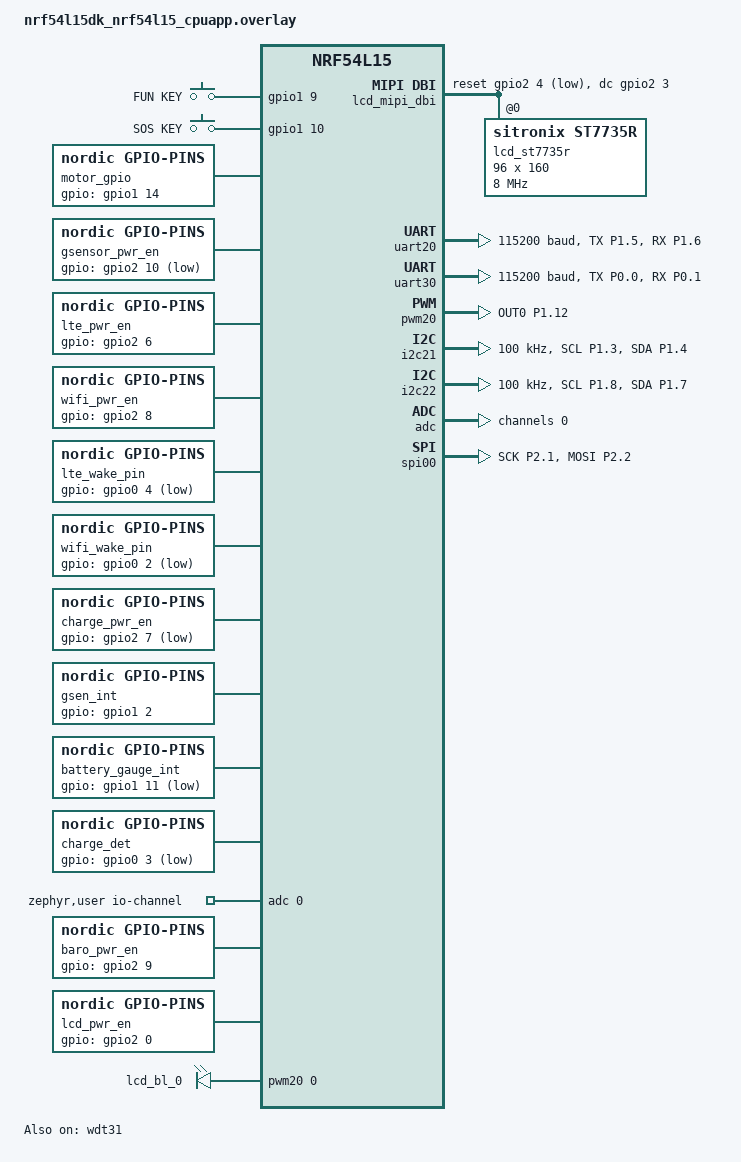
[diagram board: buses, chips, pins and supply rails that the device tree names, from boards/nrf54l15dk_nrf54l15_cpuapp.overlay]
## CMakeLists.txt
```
#
# Copyright (c) 2018 Nordic Semiconductor
#
# SPDX-License-Identifier: LicenseRef-Nordic-5-Clause
#
cmake_minimum_required(VERSION 3.20.0)

find_package(Zephyr REQUIRED HINTS $ENV{ZEPHYR_BASE})
project(LL311_BLE)

target_include_directories(app PRIVATE
 ./inc
 ./src
 ./ext_module/QMI8658B/api
 ./ext_module/QMI8658B/port
 ./ext_module/QMI8658B/driver
 ./ext_module/battery_gauge/api
 ./ext_module/battery_gauge/port
 ./ext_module/battery_gauge/vendor
 ./ext_module/barometer/api
 ./ext_module/barometer/drivers/SPA06/inc
#  ./ext_module/accelerometer/api
#  ./ext_module/accelerometer/drivers/DA213/inc
)

# NORDIC SDK APP START
target_sources(app PRIVATE
  src/main.c
  src/my_ring_buf.c
  src/my_shell.c
  src/my_ble_core.c
  src/my_lte.c
  src/my_uart.c
  src/my_wifi.c
  src/my_gprs.c
  src/my_gsensor.c
  src/my_lcd.c
  src/my_ctrl.c
  src/my_battery.c
  src/my_wdt.c
  src/my_tool.c
  src/my_cmd_setting.c
  src/my_zms_param.c
  src/my_ble_app.c
  src/my_ble_log.c
  src/my_dfu_jimi.c
  src/my_pm.c
  src/my_ble_scan.c
  ext_module/QMI8658B/api/imu_api.c
  ext_module/QMI8658B/port/qmi8658b_port.c
  ext_module/QMI8658B/driver/qmi8658b_driver.c
  ext_module/battery_gauge/api/battery_gauge_api.c
  ext_module/battery_gauge/port/om70201wv_port.c
  ext_module/battery_gauge/vendor/omg_battery.c
  ext_module/barometer/api/barometer_api.c
  ext_module/barometer/drivers/SPA06/src/spa06_driver.c
  # ext_module/accelerometer/api/accelerometer_api.c
  # ext_module/accelerometer/drivers/DA213/src/da213_driver.c
  src/my_flash_store.c
)

# NORDIC SDK APP END
```

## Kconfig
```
#
# Copyright (c) 2018 Nordic Semiconductor
#
# SPDX-License-Identifier: LicenseRef-Nordic-5-Clause
#

source "Kconfig.zephyr"

menu "Nordic UART BLE GATT service sample"

config USE_STDC_LSM6DSV16X
	bool "LSM6DSV16X STdC driver"
	default y
	select HAS_STMEMSC

config BT_NUS_THREAD_STACK_SIZE
	int "Thread stack size"
	default 1024
	help
	  Stack size used in each of the two threads

config BT_NUS_UART_BUFFER_SIZE
	int "UART payload buffer element size"
	default 40
	help
	  Size of the payload buffer in each RX and TX FIFO element

config BT_NUS_SECURITY_ENABLED
	bool "Security"
	default y
	select BT_SMP
	help
	  Enable Bluetooth LE security for the UART service

config BT_NUS_UART_RX_WAIT_TIME
	int "Timeout for UART RX complete event"
	default 50000
	help
	  Wait for RX complete event time in microseconds

config SETTINGS
	default y

config ZMS
	default y if (SOC_FLASH_NRF_RRAM || SOC_FLASH_NRF_MRAM)

config NVS
	default y if !(SOC_FLASH_NRF_RRAM || SOC_FLASH_NRF_MRAM)

endmenu
```

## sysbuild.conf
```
#
# Copyright (c) 2021 Nordic Semiconductor ASA
#
# SPDX-License-Identifier: LicenseRef-Nordic-5-Clause
#

# Enable MCUboot as bootloader (recommended way)
SB_CONFIG_BOOTLOADER_MCUBOOT=y
```

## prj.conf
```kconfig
#
# Copyright (c) 2018 Nordic Semiconductor
#
# SPDX-License-Identifier: LicenseRef-Nordic-5-Clause
#

# Enable the UART driver
CONFIG_UART_ASYNC_API=y
CONFIG_NRFX_UARTE=y
CONFIG_SERIAL=y

# Enable the GPIO driver
CONFIG_GPIO=y

# Enable I2C driver
CONFIG_I2C=y

# Enable PWM driver
CONFIG_PWM=y

# Enable SPI driver
CONFIG_SPI=y
CONFIG_SPI_NRFX=y

# Enable MIPI DBI
CONFIG_MIPI_DBI=y
CONFIG_MIPI_DBI_SPI=y

# Enable Display (ST7735R)
CONFIG_DISPLAY=y
CONFIG_ST7735R=y
CONFIG_SPI_NRFX_RAM_BUFFER_SIZE=256

# Make sure printk is printing to the RTT console
CONFIG_CONSOLE=y
CONFIG_UART_CONSOLE=n
CONFIG_RTT_CONSOLE=y

# Enable Shell
CONFIG_SHELL=y
CONFIG_SHELL_BACKEND_RTT=y
CONFIG_SHELL_BACKEND_SERIAL=n
CONFIG_SHELL_VT100_COMMANDS=y
CONFIG_SHELL_HISTORY=y

# Increase RTT buffer size to prevent message drops
CONFIG_SEGGER_RTT_BUFFER_SIZE_UP=4096
CONFIG_LOG_BUFFER_SIZE=4096

# Heap and stacks
CONFIG_HEAP_MEM_POOL_SIZE=16384
CONFIG_MAIN_STACK_SIZE=2048
CONFIG_SYSTEM_WORKQUEUE_STACK_SIZE=2048

# Bluetooth RX workqueue stack size (default 1200 is insufficient for BLE log, increased to 2048)
CONFIG_BT_RX_STACK_SIZE=2048

# Enable Bluetooth
CONFIG_BT=y
CONFIG_BT_PERIPHERAL=y
CONFIG_BT_DEVICE_NAME="LL311"
CONFIG_BT_DEVICE_APPEARANCE=512
CONFIG_BT_MAX_CONN=2
CONFIG_BT_MAX_PAIRED=1

# Enable Bluetooth Observer role for TAG scanning
CONFIG_BT_OBSERVER=y
CONFIG_BT_SCAN=y

# Enable extended advertising for multiple advertising sets
CONFIG_BT_EXT_ADV=y
CONFIG_BT_EXT_ADV_MAX_ADV_SET=3

CONFIG_BT_CTLR_TX_PWR_DYNAMIC_CONTROL=y

# Enable the Device Information Service
# CONFIG_BT_DIS=y
# CONFIG_BT_DIS_MANUF_NAME=y
# CONFIG_BT_DIS_MANUF_NAME_STR="Nordic Semiconductor ASA"
# CONFIG_BT_DIS_PNP=y
# CONFIG_BT_DIS_PNP_VID_SRC=2
# CONFIG_BT_DIS_PNP_VID=0x1915
# CONFIG_BT_DIS_PNP_PID=0xEEF1
# CONFIG_BT_DIS_PNP_VER=0x0100

# Disable NUS service
CONFIG_BT_NUS=n
# CONFIG_BT_NUS_THREAD_STACK_SIZE is no longer needed

# Enable bonding
CONFIG_BT_SETTINGS=y
CONFIG_FLASH=y
CONFIG_FLASH_PAGE_LAYOUT=y
CONFIG_FLASH_MAP=y
CONFIG_STREAM_FLASH=y
CONFIG_PARTITION_MANAGER_ENABLED=y

# Enable DK LED and Buttons library
CONFIG_DK_LIBRARY=n

# Disable SPI NOR Flash
CONFIG_SPI_NOR=n
CONFIG_NORDIC_QSPI_NOR=n

# Enable Power Management
CONFIG_PM=y
CONFIG_PM_DEVICE=y
CONFIG_PM_DEVICE_RUNTIME=y

# Disable unused RAM blocks to reduce standby current
CONFIG_RAM_POWER_DOWN_LIBRARY=y

# Config logger
CONFIG_LOG=y
CONFIG_LOG_DEFAULT_LEVEL=3
CONFIG_USE_SEGGER_RTT=y
CONFIG_LOG_BACKEND_RTT=n
CONFIG_LOG_BACKEND_UART=n
CONFIG_LOG_PRINTK=n
CONFIG_LOG_CUSTOM_FORMAT_SUPPORT=y
CONFIG_LOG_OUTPUT_FORMAT_CUSTOM_TIMESTAMP=y
CONFIG_LOG_BACKEND_FORMAT_TIMESTAMP=y

CONFIG_HWINFO=y


# Enable assertions
CONFIG_ASSERT=y

# Enable power management
CONFIG_PM=y
CONFIG_PM_DEVICE=y

# Enable Watchdog
CONFIG_WATCHDOG=y

# Enable reboot
CONFIG_REBOOT=y

# Enable ADC
CONFIG_ADC=y
CONFIG_ADC_NRFX_SAADC=y

# ST MEMSC HAL
CONFIG_USE_STDC_LSM6DSV16X=y

# Enable poweroff
CONFIG_POWEROFF=y

# nRF Security + PSA Crypto
CONFIG_NRF_SECURITY=y

# AES ECB
CONFIG_PSA_WANT_KEY_TYPE_AES=y
CONFIG_PSA_WANT_ALG_ECB_NO_PADDING=y

# Enable MCUManager and BT OTA DFU
CONFIG_NCS_SAMPLE_MCUMGR_BT_OTA_DFU=y

# Enable Bluetooth OTA DFU support, no authentication required
CONFIG_MCUMGR_TRANSPORT_BT_PERM_RW=y

# MCUmgr notification hooks for OTA status monitoring
CONFIG_MCUMGR_MGMT_NOTIFICATION_HOOKS=y
CONFIG_MCUMGR_SMP_COMMAND_STATUS_HOOKS=y
CONFIG_MCUMGR_GRP_IMG_UPLOAD_CHECK_HOOK=y

# Enable Bluetooth SMP (Security Manager Protocol)
CONFIG_BT_SMP=y

# Enable Secure Connections pairing (for Passkey Entry)
CONFIG_BT_SMP_SC_PAIR_ONLY=n

# Enable larger ACL buffers for DFU (MTU 498 + 4 bytes L2CAP header)
# Supports dual-PDU mode: max data length = 251 * 2 = 502
CONFIG_BT_L2CAP_TX_MTU=498
CONFIG_BT_BUF_ACL_RX_SIZE=502
CONFIG_BT_BUF_ACL_TX_SIZE=502
CONFIG_BT_CTLR_DATA_LENGTH_MAX=251

CONFIG_CBPRINTF_FP_SUPPORT=y
```

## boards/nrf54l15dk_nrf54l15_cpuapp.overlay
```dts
/*
 * Copyright (c) 2024 Nordic Semiconductor ASA
 *
 * SPDX-License-Identifier: LicenseRef-Nordic-5-Clause
 */

#include <zephyr/dt-bindings/gpio/gpio.h>
#include <zephyr/dt-bindings/i2c/i2c.h>
#include <zephyr/dt-bindings/pinctrl/nrf-pinctrl.h>
#include <zephyr/dt-bindings/mipi_dbi/mipi_dbi.h>

/ {
	chosen {
		/* LCD 显示屏（ST7735r驱动兼容ST7735P3,目前硬件使用ST7735P3） */
		zephyr,display = &lcd_st7735r;
	};

	/* 定义别名，方便代码调用 */
	aliases {
		/* 删除板级alias别名 */
		/delete-property/ led0;
		/delete-property/ led1;
		/delete-property/ led2;
		/delete-property/ led3;
		/delete-property/ pwm-led0;
		/delete-property/ sw0;
		/delete-property/ sw1;
		/delete-property/ sw2;
		/delete-property/ sw3;
		/delete-property/ mcuboot-button0;
		/delete-property/ mcuboot-led0;
		lte-uart = &uart30;
		lte-pwr-ctrl = &lte_pwr_en;
		lte-wake-ctrl = &lte_wake_pin;
		gsensor-i2c = &i2c21;
		battery-gauge-i2c = &i2c21;
		gsensor-pwr-ctrl = &gsensor_pwr_en;
		motor-ctrl = &motor_gpio;
		fun-key = &fun_key_pin;
		charge-pwr-ctrl = &charge_pwr_en;
		gsensor-int = &gsen_int;
		battery-gauge-int = &battery_gauge_int;
		charge-detect = &charge_det;
		wifi-uart = &uart20;
		wifi-pwr-ctrl = &wifi_pwr_en;
		wifi-wake-ctrl = &wifi_wake_pin;
		sos-key = &sos_key_pin;
		baro-pwr-ctrl = &baro_pwr_en;
		baro-i2c = &i2c22;
		lcd-backlight = &lcd_bl_0;
		lcd-pwr-ctrl = &lcd_pwr_en;
	};
	/* 删除板级节点 */
	/delete-node/ leds;
	/delete-node/ buttons;
	/delete-node/ pwmleds;

	/* 定义按键 - 使用 gpio-keys 兼容类型 */
	button_fun: button_fun {
		compatible = "gpio-keys";
		fun_key_pin: fun_key_pin {
			gpios = <&gpio1 9 (GPIO_PULL_DOWN | GPIO_ACTIVE_HIGH)>;
			label = "FUN KEY";
		};
	};

	/* SOS 按键：P1.10，下拉输入，高电平有效 */
	button_sos: button_sos {
		compatible = "gpio-keys";
		sos_key_pin: sos_key_pin {
			gpios = <&gpio1 10 (GPIO_PULL_DOWN | GPIO_ACTIVE_HIGH)>;
			label = "SOS KEY";
		};
	};

	/* 振动马达控制引脚：P1.14，高电平振动 */
	motor_gpio: motor-gpio {
		compatible = "nordic,gpio-pins";
		gpios = <&gpio1 14 GPIO_ACTIVE_HIGH>;
		status = "okay";
	};

	/* 六轴传感器电源控制引脚配置：P2.10，低电平有效 */
	gsensor_pwr_en: gsensor-pwr-en {
		compatible = "nordic,gpio-pins";
		gpios = <&gpio2 10 GPIO_ACTIVE_LOW>;
		status = "okay";
	};

	/* 4G 电源控制引脚配置：P2.06，高电平有效 */
	lte_pwr_en: lte-pwr-en {
		compatible = "nordic,gpio-pins";
		gpios = <&gpio2 6 GPIO_ACTIVE_HIGH>;
		status = "okay";
	};

	/* WIFI 电源控制引脚配置：P2.08，高电平有效 */
	wifi_pwr_en: wifi-pwr-en {
		compatible = "nordic,gpio-pins";
		gpios = <&gpio2 8 GPIO_ACTIVE_HIGH>;
		status = "okay";
	};

	/* LTE 唤醒引脚配置：P0.04，外部上拉，4G拉低唤醒Nordic */
	lte_wake_pin: lte-wake-pin {
		compatible = "nordic,gpio-pins";
		gpios = <&gpio0 4 GPIO_ACTIVE_LOW>;
		status = "okay";
	};

	/* WIFI 唤醒引脚配置：P0.02，外部上拉，WIFI拉低唤醒Nordic */
	wifi_wake_pin: wifi-wake-pin {
		compatible = "nordic,gpio-pins";
		gpios = <&gpio0 2 GPIO_ACTIVE_LOW>;
		status = "okay";
	};

	/* P2.7: 充电使能，低电平使能 */
	charge_pwr_en: charge-pwr-en {
		compatible = "nordic,gpio-pins";
		gpios = <&gpio2 7 GPIO_ACTIVE_LOW>;
		status = "okay";
	};

	/* gsensor中断，默认下拉 */
	gsen_int: gsen-int {
		compatible = "nordic,gpio-pins";
		gpios = <&gpio1 2 (GPIO_PULL_DOWN | GPIO_ACTIVE_HIGH)>;
		status = "okay";
	};

	/* OM70201WV INTN：P1.11，默认上拉输入，低电平有效 */
	battery_gauge_int: battery-gauge-int {
		compatible = "nordic,gpio-pins";
		gpios = <&gpio1 11 (GPIO_PULL_UP | GPIO_ACTIVE_LOW)>;
		status = "okay";
	};

	/* P0.3: 是否在充电的检测,外部上拉 */
	charge_det: charge-det {
		compatible = "nordic,gpio-pins";
		gpios = <&gpio0 3 (GPIO_ACTIVE_LOW)>;
		status = "okay";
	};

	/* 把要用的 ADC 通道挂到 zephyr,user，方便 C 代码用 ADC_DT_SPEC_GET(DT_PATH(zephyr_user)) */
	zephyr,user {
		/* 通道 0：电池电压（P1.13 / AIN6）*/
		io-channels = <&adc 0>;
	};

	/* 气压计电源控制引脚：P2.09，高电平使能 */
	baro_pwr_en: baro-pwr-en {
		compatible = "nordic,gpio-pins";
		gpios = <&gpio2 9 GPIO_ACTIVE_HIGH>;
		status = "okay";
	};

	/* LCD 电源使能引脚：P2.00，高电平使能 */
	lcd_pwr_en: lcd-pwr-en {
		compatible = "nordic,gpio-pins";
		gpios = <&gpio2 0 GPIO_ACTIVE_HIGH>;
		status = "okay";
	};

	/* LCD 背光 PWM 节点：pwm20 通道0，P1.12 */
	lcd_bl_pwm: lcd-bl-pwm {
		compatible = "pwm-leds";
		lcd_bl_0: lcd_bl_0 {
			/* 背光频率1kHz，可调占空比控制亮度 */
			pwms = <&pwm20 0 PWM_HZ(1000) PWM_POLARITY_NORMAL>;
		};
	};

	/* LCD 显示屏（ST7735）MIPI-DBI 节点 */
	lcd_mipi_dbi {
		compatible = "zephyr,mipi-dbi-spi";
		spi-dev = <&spi00>;
		dc-gpios = <&gpio2 3 GPIO_ACTIVE_HIGH>;    /* P2.03 RS */
		reset-gpios = <&gpio2 4 GPIO_ACTIVE_LOW>;  /* P2.04 RESET */
		write-only;                                /* 无 MISO，禁止读操作 */
		#address-cells = <1>;
		#size-cells = <0>;

		lcd_st7735r: st7735r@0 {
			compatible = "sitronix,st7735r";
			/* SPI 频率需能被 nRF54L15 SPIM 基频整除且分频为偶数，8MHz 为安全值 */
			mipi-max-frequency = <8000000>;
			mipi-mode = "MIPI_DBI_MODE_SPI_4WIRE";
			reg = <0>;
			width = <96>;
			height = <160>;
			x-offset = <18>;      /* GRM X 起始 0x12 */
			y-offset = <1>;       /* GRM Y 起始 0x01 */
			madctl = <0xC8>;      /* MY=1 MX=1 RGB=1(BGR) */
			colmod = <0x05>;      /* 16bit RGB565 */
			caset = [00 12 00 71];   /* 列 0x12~0x71 (96列) */
			raset = [00 01 00 a0];   /* 行 0x01~0xA0 (160行) */
			vmctr1 = <0x05>;      /* VCOM */
			pwctr1 = [88 08 84];  /* 电源控制1 */
			pwctr2 = [c4];        /* 电源控制2 */
			pwctr3 = [0d 00];     /* 电源控制3 */
			pwctr4 = [8d 2a];     /* 电源控制4 */
			pwctr5 = [8d ee];     /* 电源控制5 */
			frmctr1 = [05 3c 3c]; /* 帧率控制1 */
			frmctr2 = [05 3c 3c]; /* 帧率控制2 */
			frmctr3 = [05 3c 3c 05 3c 3c]; /* 帧率控制3 */
			invctr = <0x03>;      /* Dot inversion */
			gamctrp1 = [13 1e 0f 14 28 21 1a 1e 1e 20 2a 38 00 0c 01 10];  /* 正伽马 */
			gamctrn1 = [16 1c 0e 17 30 2b 26 2b 2b 27 2f 3c 00 0e 04 10];  /* 负伽马 */
		};
	};

};

/* 配置 NFC 使用的引脚做为IO口 */
&uicr {
	nfct-pins-as-gpios;
};

&uart20 {
	status = "disabled";
};

/* 各外设 pinctrl 引脚配置 */
&pinctrl {
	i2c21_default: i2c21_default {
		group1 {
			psels = <NRF_PSEL(TWIM_SCL, 1, 3)>,
				<NRF_PSEL(TWIM_SDA, 1, 4)>;
		};
	};

	i2c21_sleep: i2c21_sleep {
		group1 {
			psels = <NRF_PSEL(TWIM_SCL, 1, 3)>,
				<NRF_PSEL(TWIM_SDA, 1, 4)>;
			low-power-enable;
		};
	};

	i2c22_default: i2c22_default {
		group1 {
			psels = <NRF_PSEL(TWIM_SCL, 1, 8)>,
				<NRF_PSEL(TWIM_SDA, 1, 7)>;
		};
	};

	i2c22_sleep: i2c22_sleep {
		group1 {
			psels = <NRF_PSEL(TWIM_SCL, 1, 8)>,
				<NRF_PSEL(TWIM_SDA, 1, 7)>;
			low-power-enable;
		};
	};

	lte_uart30_default: lte_uart30_default {
		group1 {
			/* TX 为输出，无需偏置 */
			psels = <NRF_PSEL(UART_TX, 0, 0)>;
		};
		group2 {
			/* RX 为输入，default 状态配置上拉 */
			psels = <NRF_PSEL(UART_RX, 0, 1)>;
			bias-pull-up;
		};
	};

	lte_uart30_sleep: lte_uart30_sleep {
		group1 {
			/* sleep 状态配置低功耗模式(高阻态) */
			psels = <NRF_PSEL(UART_TX, 0, 0)>,
					<NRF_PSEL(UART_RX, 0, 1)>;
			low-power-enable;
		};
	};

	uart20_default: uart20_default {
		group1 {
			psels = <NRF_PSEL(UART_TX, 1, 5)>;
		};
		group2 {
			psels = <NRF_PSEL(UART_RX, 1, 6)>;
			bias-pull-up;
		};
	};

	uart20_sleep: uart20_sleep {
		group1 {
			psels = <NRF_PSEL(UART_TX, 1, 5)>,
				<NRF_PSEL(UART_RX, 1, 6)>;
			low-power-enable;
		};
	};

	pwm20_default: pwm20_default {
		group1 {
			psels = <NRF_PSEL(PWM_OUT0, 1, 12)>;
			nordic,drive-mode = <NRF_DRIVE_H0H1>;
		};
	};

	pwm20_sleep: pwm20_sleep {
		group1 {
			psels = <NRF_PSEL(PWM_OUT0, 1, 12)>;
			low-power-enable;
		};
	};

	spi00_default: spi00_default {
		group1 {
			psels = <NRF_PSEL(SPIM_SCK, 2, 1)>,
					<NRF_PSEL(SPIM_MOSI, 2, 2)>;
			nordic,drive-mode = <NRF_DRIVE_H0H1>;
			bias-disable;
		};
	};

	spi00_sleep: spi00_sleep {
		group1 {
			psels = <NRF_PSEL(SPIM_SCK, 2, 1)>,
					<NRF_PSEL(SPIM_MOSI, 2, 2)>;
			low-power-enable;
		};
	};
};

/* 开启并配置 UART30 */
&uart30 {
	status = "okay";
	current-speed = <115200>;
	pinctrl-0 = <&lte_uart30_default>;
	pinctrl-1 = <&lte_uart30_sleep>;
	pinctrl-names = "default", "sleep";
};

&uart20 {
    status = "okay";
    current-speed = <115200>;
    pinctrl-0 = <&uart20_default>;
    pinctrl-1 = <&uart20_sleep>;
    pinctrl-names = "default", "sleep";
};

/* 开启并配置 PWM20 用于 LCD 背光 */
&pwm20 {
	status = "okay";
	pinctrl-0 = <&pwm20_default>;
	pinctrl-1 = <&pwm20_sleep>;
	pinctrl-names = "default", "sleep";
};

/* 开启并配置 I2C21 用于 G-Sensor */
&i2c21 {
	status = "okay";
	pinctrl-0 = <&i2c21_default>;
	pinctrl-1 = <&i2c21_sleep>;
	pinctrl-names = "default", "sleep";
	clock-frequency = <I2C_BITRATE_STANDARD>;
};

/* 气压计 I2C 总线：P1.08(SCL), P1.07(SDA) */
&i2c22 {
	status = "okay";
	pinctrl-0 = <&i2c22_default>;
	pinctrl-1 = <&i2c22_sleep>;
	pinctrl-names = "default", "sleep";
	clock-frequency = <I2C_BITRATE_STANDARD>;
};

/* ADC 配置：通道 0 = AIN6(P1.13) */
&adc {
	#address-cells = <1>;
	#size-cells = <0>;
	status = "okay";

	/* 通道 0：电池电压采集，AIN6 = P1.13 */
	channel@0 {
		reg = <0>;
		zephyr,gain = "ADC_GAIN_1_4";          /* nRF54L15 推荐 1/4 增益 */
		zephyr,reference = "ADC_REF_INTERNAL"; /* 内部参考 */
		zephyr,acquisition-time = <ADC_ACQ_TIME_DEFAULT>;
		zephyr,input-positive = <NRF_SAADC_AIN6>;  /* AIN6 = P1.13 */
		zephyr,resolution = <14>;                  /* nRF54L15 为 14 bit */
	};
};

/* LCD 显示屏使用 SPIM00：SCK=P2.01，MOSI=P2.02，CS=P2.05（无 MISO） */
&spi00 {
	compatible = "nordic,nrf-spim";
	status = "okay";
	pinctrl-0 = <&spi00_default>;
	pinctrl-1 = <&spi00_sleep>;
	pinctrl-names = "default", "sleep";
	cs-gpios = <&gpio2 5 GPIO_ACTIVE_LOW>;  /* P2.05 CS */
};

/* Disable MX25R64 SPI NOR Flash */
&mx25r64 {
    status = "disabled";
};

/* P0.4用于唤醒 */
&gpio0 {
	// wakeup-source;
	sense-edge-mask = <(BIT(2) | BIT(3) | BIT(4))>;  /* P0.2、P0.3 和 P0.4 */
};

/* 新增：为 gpio1 启用 sense 机制，降低功耗 */
&gpio1 {
	status = "okay";
	sense-edge-mask = <(BIT(2) | BIT(9) | BIT(10) | BIT(11))>;  /* P1.2六轴INT、P1.9功能键、P1.10 SOS键、P1.11库仑计INT */
};

&wdt31 {
	status = "okay";
};
```

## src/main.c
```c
/* 必须在包含 my_comm.h 之前定义 BLE_LOG_MODULE_ID，避免与 my_ble_log.h 中的默认定义冲突 */
#define BLE_LOG_MODULE_ID BLE_LOG_MOD_MAIN

#include "my_comm.h"

#define LOG_MODULE_NAME my_main
LOG_MODULE_REGISTER(LOG_MODULE_NAME);

/* 线程 ID 声明 */
static k_tid_t s_my_main_task_id = NULL;
static k_tid_t s_my_ble_task_id = NULL;
static k_tid_t s_my_ctrl_task_id = NULL;
static k_tid_t s_my_lte_task_id = NULL;
static k_tid_t s_my_wifi_task_id = NULL;
static k_tid_t s_my_gprs_task_id = NULL;
static k_tid_t s_my_gsensor_task_id = NULL;

static k_tid_t s_my_task_info[MAX_MY_MOD_TYPE] = {NULL};

/* 消息队列声明 */
K_MSGQ_DEFINE(my_main_msgq, sizeof(msg_t), 10, 4);
static struct k_msgq *s_my_msg_info[MAX_MY_MOD_TYPE] = {NULL};

/* 定时器声明 */
static struct k_timer s_my_timer_info[MY_TIMER_MAX_ID];
static bool s_my_timer_init_status[MY_TIMER_MAX_ID] = {false};

bool g_shutdown_request = false; // 关机请求标志位

/********************************************************************
**函数名称:  error
**入口参数:  无
**出口参数:  无
**函数功能:  进入系统错误状态，点亮所有 LED 并阻塞在死循环中
**返 回 值:  无
*********************************************************************/
void error(void)
{
    /* 所有 LED 亮，表示系统错误状态 */
    // TODO

    while (true)
    {
        /* Spin for ever */
        k_sleep(K_MSEC(1000));
    }
}

/*********************************************************************
**函数名称:  my_system_reset
**入口参数:  无
**出口参数:  无
**函数功能:  系统复位函数
*********************************************************************/
void my_system_reset(void)
{
    MY_LOG_ERR("System reset");
    JM_SLEEP(K_SECONDS(1));
    sys_reboot(SYS_REBOOT_WARM);
}

/*********************************************************************
**函数名称:  custom_task_info_init
**入口参数:  无
**出口参数:  无
**函数功能:  初始化任务数据信息结构
*********************************************************************/
void custom_task_info_init(void)
{
    s_my_task_info[MOD_MAIN] = s_my_main_task_id;
    s_my_task_info[MOD_BLE] = s_my_ble_task_id;
    s_my_task_info[MOD_CTRL] = s_my_ctrl_task_id;
    s_my_task_info[MOD_LTE] = s_my_lte_task_id;
    s_my_task_info[MOD_WIFI] = s_my_wifi_task_id;
    s_my_task_info[MOD_GPRS] = s_my_gprs_task_id;
    s_my_task_info[MOD_GSENSOR] = s_my_gsensor_task_id;
}

/*********************************************************************
**函数名称:  my_init_msg_handler
**入口参数:  mod - 任务类型，msgq - 消息队列
**出口参数:  无
**函数功能:  初始化任务数据信息结构
*********************************************************************/
void my_init_msg_handler(module_type mod, struct k_msgq *msgq)
{
    if (msgq == NULL)
    {
        MY_LOG_ERR("Invalid message queue (mod: %d)", mod);
        return;
    }

    /* 保存消息队列指针 */
    s_my_msg_info[mod] = msgq;
}

/*********************************************************************
**函数名称:  my_send_msg
**入口参数:  src_mod_id   --  发送消息的源模块ID
**           dest_mod_id  --  接收消息的目标模块ID
**           msg          --  消息ID
**出口参数:  无
**函数功能:  向指定模块发送简单消息 (不带附加数据)
*********************************************************************/
void my_send_msg(module_type src_mod_id, module_type dest_mod_id, uint32_t msg)
{
    msg_t sendMsg = {.msgID = msg, .pData = NULL, .DataLen = 0};
    struct k_msgq *destHdl = s_my_msg_info[dest_mod_id];

    if (destHdl == NULL)
    {
#if 0 // NOTE: 在定时器回调中调用打印接口设备会死机
        MY_LOG_ERR("dest thread is not ready! dest_mod_id=%d msgid=%d", dest_mod_id, msg);
#endif
        return;
    }

    /* 将消息放入目标队列 */
    k_msgq_put(destHdl, (void *)(&sendMsg), K_NO_WAIT);
}

/*********************************************************************
**函数名称:  my_send_msg_data
**入口参数:  src_mod_id   --  发送消息的源模块ID
**           dest_mod_id  --  接收消息的目标模块ID
**           msg          --  消息结构体指针 (msg_t)
**出口参数:  无
**函数功能:  向指定模块发送包含数据的完整消息结构
*********************************************************************/
void my_send_msg_data(module_type src_mod_id, module_type dest_mod_id, msg_t *msg)
{
    struct k_msgq *destHdl = s_my_msg_info[dest_mod_id];

    if (destHdl == NULL)
    {
#if 0 // NOTE: 在定时器回调中调用打印接口设备会死机
        MY_LOG_ERR("dest thread is not ready!");
#endif
        return;
    }

    /* 将消息放入目标队列 */
    k_msgq_put(destHdl, (void *)msg, K_NO_WAIT);
}

/*********************************************************************
**函数名称:  my_recv_msg
**入口参数:  msg_queue    --  消息队列句柄
**           msg          --  存储接收数据的缓冲区指针
**           msg_size     --  消息大小 (由队列定义决定，此处仅作预留)
**           wait_option  --  等待选项 (K_NO_WAIT, K_FOREVER等)
**出口参数:  msg          --  接收到的消息内容
**函数功能:  从指定消息队列接收消息
**返 回 值:  0 表示成功，负值表示失败
*********************************************************************/
int my_recv_msg(void *msg_queue, void *msg, uint32_t msg_size, k_timeout_t wait_option)
{
    return (int)k_msgq_get(msg_queue, msg, wait_option);
}

/*********************************************************************
**函数名称:  my_timer_expiry_function
**入口参数:  timer    --  Zephyr 定时器结构体指针
**出口参数:  无
**函数功能:  Zephyr 定时器超时回调包装函数
*********************************************************************/
static void my_timer_expiry_function(struct k_timer *timer)
{
    TIMER_FUN fun = (TIMER_FUN)k_timer_user_data_get(timer);
    if (fun)
    {
        fun(timer);
    }
}
/*********************************************************************
**函数名称:  my_stop_timer
**入口参数:  timerId    --  定时器ID
**出口参数:  无
**函数功能:  停止指定定时器
*********************************************************************/
void my_stop_timer(int timerId)
{
    if (timerId < 0 || timerId >= MY_TIMER_MAX_ID)
    {
        return;
    }

    if (s_my_timer_init_status[timerId])
    {
        k_timer_stop(&s_my_timer_info[timerId]);
    }
}

/*********************************************************************
**函数名称:  my_start_timer
**入口参数:  timerId    --  定时器ID
**           ms         --  定时器超时时间 (单位: 毫秒)
**           isPeriod   --  是否重复定时
**           timer_fun  --  定时器超时回调函数
**出口参数:  无
**函数功能:  启动指定定时器
*********************************************************************/
int my_start_timer(int timerId, uint32_t ms, bool isPeriod, TIMER_FUN timer_fun)
{
    if (timerId < 0 || timerId >= MY_TIMER_MAX_ID)
    {
        return -EINVAL;
    }

    /* 如果定时器未初始化，则先执行初始化并标记状态 */
    if (!s_my_timer_init_status[timerId])
    {
        k_timer_init(&s_my_timer_info[timerId], my_timer_expiry_function, NULL);
        s_my_timer_init_status[timerId] = true;
    }

    /* 停止旧的定时器 (现在已确保初始化，可以安全调用) */
    k_timer_stop(&s_my_timer_info[timerId]);

    /* 把用户回调函数指针存到 user_data */
    k_timer_user_data_set(&s_my_timer_info[timerId],
                          (void *)timer_fun);

    /* 启动定时器 */
    k_timer_start(&s_my_timer_info[timerId],
                  K_MSEC(ms),
                  isPeriod ? K_MSEC(ms) : K_NO_WAIT);

    return 0;
}

/*********************************************************************
**函数名称:  my_time_is_run
**入口参数:  timerId    --  定时器ID
**出口参数:  无
**函数功能:  检查指定定时器是否正在运行
**返 回 值:  剩余时间（单位：毫秒）
*********************************************************************/
uint32_t my_time_is_run(int timerId)
{
    if (timerId < 0 || timerId >= MY_TIMER_MAX_ID)
    {
        return false;
    }

    if (!s_my_timer_init_status[timerId])
    {
        return false;
    }

    /* 如果剩余时间大于 0，说明定时器正在运行 */
    return k_timer_remaining_get(&s_my_timer_info[timerId]);
}

/********************************************************************
**函数名称:  print_app_info
**入口参数:  无
**出口参数:  无
**函数功能:  打印应用信息
**返 回 值:  无
**功能描述:  1. 打印软件版本信息
**           2. 打印蓝牙 MAC 地址
**           3. 打印 SN 信息
*********************************************************************/
static void print_app_info(void)
{
    const macaddr_t *mac_addr = my_param_get_macaddr();
    const gsm_sn_t *sn = my_param_get_sn();

    MY_LOG_INF("============================================");
    MY_LOG_INF("App Info:");
    MY_LOG_INF("  Version    : %s", SOFTWARE_VERSION);
    MY_LOG_INF("  BLE MAC    : %02X:%02X:%02X:%02X:%02X:%02X",
            mac_addr->hex[0], mac_addr->hex[1], mac_addr->hex[2],
            mac_addr->hex[3], mac_addr->hex[4], mac_addr->hex[5]);
    MY_LOG_INF("  SN         : %c%c%c%c%c%c%c%c%c%c%c%c",
            sn->hex[0], sn->hex[1], sn->hex[2], sn->hex[3],
            sn->hex[4], sn->hex[5], sn->hex[6], sn->hex[7],
            sn->hex[8], sn->hex[9], sn->hex[10], sn->hex[11]);
    MY_LOG_INF("============================================");
}

/********************************************************************
**函数名称:  print_reset_reason
**入口参数:  无
**出口参数:  无
**函数功能:  打印系统复位原因
**返 回 值:  无
*********************************************************************/
void print_reset_reason(void)
{
    uint32_t supported = 0U;
    uint32_t cause = 0U;
    int err;

    err = hwinfo_get_supported_reset_cause(&supported);
    if (err == 0)
    {
        LOG_INF("Reset causes supported: 0x%08X", supported);
    }

    err = hwinfo_get_reset_cause(&cause);
    if (err == 0)
    {
        LOG_INF("Reset cause bitmask: 0x%08X", cause);

        if (cause == 0)
        {
            LOG_INF("Power-on reset");
        }
        if (cause & RESET_PIN)
        {
            LOG_INF("PIN reset");
        }
        if (cause & RESET_WATCHDOG)
        {
            LOG_INF("Watchdog reset");
        }
        if (cause & RESET_SOFTWARE)
        {
            LOG_INF("Software reset");
        }
        if (cause & RESET_CPU_LOCKUP)
        {
            LOG_INF("CPU lockup reset");
        }
        if (cause & RESET_BROWNOUT)
        {
            LOG_INF("Brownout reset");
        }
        if (cause & RESET_DEBUG)
        {
            LOG_INF("Debug interface reset");
        }
        if (cause & RESET_SECURITY)
        {
            LOG_INF("Security violation reset");
        }
        if (cause & RESET_LOW_POWER_WAKE)
        {
            LOG_INF("Wakeup from low power mode");
        }
        if (cause & RESET_CLOCK)
        {
            LOG_INF("Clock error / GRTC wakeup");
        }

        /* 清除复位原因，以便下次重启能获取最新原因 */
        err = hwinfo_clear_reset_cause();
        if (err)
        {
            LOG_INF("Reset cause clear failed (err %d)", err);
        }
    }
    else
    {
        LOG_INF("hwinfo_get_reset_cause failed (err %d)", err);
    }
}

/********************************************************************
**函数名称:  go_to_shutdown
**入口参数:  无
**出口参数:  无
**函数功能:  关机系统
**返 回 值:  0 表示成功，-1 表示充电中，无法关机
*********************************************************************/
int go_to_shutdown(void)
{
    if (get_charge_state_level() == 0)
    {
        if (g_bLteReady == 1)
        {
            // 通知4G模块关机
            g_shutdown_request = true;

            #if RETRANSMIT_CHECK_ENABLED
                lte_send_cmd_with_retry("PWROFF", "1");
            #else
                lte_send_command("PWROFF", "1");
            #endif
        }
        else
        {
            my_send_msg(MOD_MAIN, MOD_MAIN, MY_MSG_CTRL_SHUTDOWN_REQUEST);
        }
        return 0;
    }
    return -1;
}

/********************************************************************
**函数名称:  main
**入口参数:  无
**出口参数:  无
**函数功能:  作为系统入口，依次完成 GPIO、UART、BLE 模块初始化并运行主指示灯循环
**返 回 值:  0 表示程序正常运行（理论上不返回）
*********************************************************************/
int main(void)
{
    int err = 0;
    msg_t msg;

    // 设置自定义日志时间戳格式化函数
    log_custom_timestamp_set(custom_timestamp_formatter);
    print_reset_reason();

    /* 提前初始化 LCD：上电后尽早清屏显示，避免等 BLE/LTE 等初始化完
     * 才点亮屏幕造成的长时间白屏 */
    err = my_lcd_init();
    if (err)
    {
        MY_LOG_ERR("Failed to initialize LCD (err %d)", err);
    }

    my_param_load_config();

    psa_crypto_init();  // PSA库初始化

    /* 打印应用信息 */
    print_app_info();

    /* 获取当前线程 ID 并保存 */
    s_my_main_task_id = k_current_get();

    /* 初始化电源管理子系统（必须在其他模块之前） */
    my_pm_init();

    /* 初始化系统控制模块 (LED, Motor, Key) */
    err = my_ctrl_init(&s_my_ctrl_task_id);
    if (err)
    {
        MY_LOG_ERR("Failed to initialize Control module (err %d)", err);
    }

    /* 初始化 Shell 模块 */
    err = my_shell_init();
    if (err)
    {
        MY_LOG_ERR("Failed to initialize Shell module (err %d)", err);
    }

    /* 初始化 BLE 核心模块 */
    struct my_ble_core_init_param ble_param = {
        .reserved = 0,
    };

    err = my_ble_core_init(&ble_param, &s_my_ble_task_id);
    if (err)
    {
        error();
    }

    /* 启动 BLE 协议栈、NUS 服务、广播以及 BLE 写线程 */
    err = my_ble_core_start();
    if (err)
    {
        error();
    }

    /* 初始化 LTE 模块 */
    err = my_lte_init(&s_my_lte_task_id);
    if (err)
    {
        MY_LOG_ERR("Failed to initialize LTE module (err %d)", err);
        /* LTE 初始化失败可以选择不进入 error() 阻塞，视具体需求而定 */
    }

    /* 初始化WiFi模块 */
    err = my_wifi_init(&s_my_wifi_task_id);
    if (err)
    {
        MY_LOG_ERR("Failed to initialize WiFi module (err %d)", err);
    }

    /* 初始化 G-Sensor 模块 */
    err = my_gsensor_init(&s_my_gsensor_task_id);
    if (err)
    {
        MY_LOG_ERR("Failed to initialize G-Sensor (err %d)", err);
    }

    err = my_gprs_init(&s_my_gprs_task_id);
    if (err)
    {
        MY_LOG_ERR("Failed to initialize GPRS module (err %d)", err);
    }

    /* 初始化自定义任务信息 */
    custom_task_info_init();

    /* 初始化主线程消息队列 */
    my_init_msg_handler(MOD_MAIN, &my_main_msgq);

    /* 在所有核心模块、线程及主消息队列完成初始化后再启动看门狗，
     * 避免上电初始化阶段因模块启动耗时较长而被误判复位。
     * 此时系统已具备正常运行条件，后续工作模式切换及业务消息处理
     * 均受看门狗保护，初始化时机更稳妥。
     */
    err = my_wdt_init();
    if (err)
    {
        MY_LOG_ERR("Failed to initialize watchdog module (err %d)", err);
    }

    /* 主循环：等待并处理消息，逻辑已迁移至各线程 */
    for (;;)
    {
        memset(&msg, 0, sizeof(msg_t));

        my_recv_msg(&my_main_msgq, (void *)&msg, sizeof(msg_t), K_FOREVER);

        switch (msg.msgID)
        {
            case MY_MSG_BLE_DATA_EVENT:
                if (msg.pData && msg.DataLen > 0)
                {
                    MY_LOG_INF("BLE Rx (len %d): %s", msg.DataLen, (char *)msg.pData);
                    LOG_HEXDUMP_INF(msg.pData, msg.DataLen, "BLE RAW");
                    MY_FREE_BUFFER(msg.pData);
                }
                break;

            case MY_MSG_CTRL_KEY_SHORT_PRESS:
                MY_LOG_INF("KEY EVENT: Short press detected");
                /* 短按唤醒后，显示电池状态，LED显示,蓝牙广播*/
                open_led_timer(5000);
                my_bluetooth_key_process();
                break;

            case MY_MSG_CTRL_KEY_LONG_PRESS:
                if (gConfigParam.pwrlimit_config.pwrlimit_sw == 0)
                {
                    go_to_shutdown();
                }
                MY_LOG_INF("KEY EVENT: Long press detected (3s)");
                break;

            case MY_MSG_CTRL_SOS_SHORT_PRESS:
                MY_LOG_INF("SOS KEY EVENT: Short press detected");
                break;

            case MY_MSG_CTRL_SOS_LONG_PRESS:
                MY_LOG_INF("SOS KEY EVENT: Long press detected (3s)");
                break;

            case MY_MSG_CTRL_SHUTDOWN_REQUEST:
                MY_LOG_INF("Shutdown request received, entering SHUTDOWN mode");
                /* 切换到关机模式 */
                MY_LOG_INF("System shutdown complete. Press FUN_KEY for 3s to wakeup.");
                g_shutdown_request = false;
                go_to_system_off();
                break;

            case MY_MSG_DFU_START:
                #if RETRANSMIT_CHECK_ENABLED
                    lte_send_cmd_with_retry("OTA", "ENTER");
                #else
                    lte_send_command("OTA", "ENTER");
                #endif
                MY_LOG_INF("DFU start received");
                break;

            case MY_MSG_DFU_TIMEOUT:
                #if RETRANSMIT_CHECK_ENABLED
                    lte_send_cmd_with_retry("OTA", "FAIL");
                #else
                    lte_send_command("OTA", "FAIL");
                #endif
                MY_LOG_INF("DFU timeout received");
                break;

            case MY_MSG_DFU_COMPLETE:
                #if RETRANSMIT_CHECK_ENABLED
                    lte_send_cmd_with_retry("OTA", "SUCCESS");
                #else
                    lte_send_command("OTA", "SUCCESS");
                #endif
                MY_LOG_INF("DFU complete received");
                break;

            case MY_MSG_DFU_FAIL:
                #if RETRANSMIT_CHECK_ENABLED
                    lte_send_cmd_with_retry("OTA", "FAIL");
                #else
                    lte_send_command("OTA", "FAIL");
                #endif
                MY_LOG_INF("DFU fail received");
                break;

            default:
                break;
        }
    }

    return 0;
}
```

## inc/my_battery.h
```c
/********************************************************************
**版权所有         深圳市几米物联有限公司
**文件名称:        my_battery.h
**文件描述:        电池管理模块实现头文件
**当前版本:        V1.0
**作    者:        周森达 (zhousenda@jimiiot.com)
**完成日期:        2026.02.04
*********************************************************************/

#ifndef _MY_BATTERY_H_
#define _MY_BATTERY_H_

// 电池状态枚举, 定义了电池的不同状态等级，从空到满
typedef enum
{
    BATT_UNKNOWN = -1,  /* 电池状态未知状态 */
    BATT_EMPTY,         /* 电池电量为空 */
    BATT_LOW,           /* 电池电量低 */
    BATT_NORMAL,        /* 电池电量正常 */
    BATT_FAIR,          /* 电池电量良好 */
    BATT_HIGH,          /* 电池电量高 */
    BATT_FULL,          /* 电池电量满 */
} my_batt_state_t;

// 电源状态枚举, 定义了设备的电源连接状态
typedef enum
{
    CHARG_UNKNOWN = -1,     /* 充电状态未知状态 */
    NO_CHARGING,            /* 充电器未连接 */
    CHARGING,               /* 充电器已连接（充电中） */
    CHARG_FULL,             /* 充电器已连接且电池已充满 */
} my_chg_state_t;

typedef enum
{
    CHG_BATT_LOW,    /* 充电状态电池电量低 */
    CHG_BATT_FAIR,   /* 充电状态电池电量良好 */
    CHG_BATT_HIGH,   /* 充电状态电池电量高 */
    CHG_BATT_FULL,   /* 充电状态电池电量满，电池已充满 */
} my_chg_batt_state_t;

// LED模式枚举, 定义了LED的不同显示模式
typedef enum
{
    BATT_LED_MODE,          // 电池状态LED模式
    CHG_LED_MODE,           // 充电状态LED模式
    BT_RADIO_LED_MODE,      // 蓝牙广播状态LED模式
    BT_CONNECT_LED_MODE,    // 蓝牙连接状态LED模式
} led_mode_t;

//电池电压-电量映射结构体,用于存储电池电压值与对应电量百分比的映射关系,用于通过电池电压计算电量百分比.
typedef struct
{
    int32_t mv;       /**< 电池电压值，单位为毫伏 (mV) */
    int8_t percent;   /**< 对应的电池电量百分比，范围为 0-100 */
} batt_volt_percent_map_t;

// LED控制上下文结构体, 用于存储LED控制相关的状态信息
typedef struct
{
  uint8_t led_status;                // LED控制标志位
  led_mode_t active_mode;            // 当前生效模式
  uint8_t led_count;                 // LED计数器
} led_ctrl_ctx_t;

// 电源状态，初始值为未连接
extern my_chg_state_t g_charg_state;

int batt_read_mv(int32_t *mv);
int ntc_read_raw(int16_t *raw);
int batt_adc_init(void);
void charge_enable(bool on);
int batt_gpio_init(void);

/*********************************************************************
**函数名称:  my_battery_update_state
**入口参数:  无
**出口参数:  无
**函数功能:  检查并更新电池状态
*********************************************************************/
void my_battery_update_state(void);

/*********************************************************************
**函数名称:  my_battery_show_chgled
**入口参数:  无
**出口参数:  无
**函数功能:  检查充电检测引脚的状态，根据检测结果更新充电状态并控制LED显示。
** 如果检测到充电，则启动充电LED控制定时器；如果未检测到充电，则关闭所有电池LED。
*********************************************************************/
void my_battery_show_chgled();

/*********************************************************************
**函数名称:  my_battery_read_mv
**入口参数:  *mv  --  指向存储电池电压值的指针，单位为毫伏
**出口参数:  err  --  错误码，0 表示成功，非 0 表示失败
**函数功能:  读取电池电压值（毫伏）,函数采用多次采样并去除极值的方法提高测量准确性,
**           最终结果会乘以 2，是因为硬件电路中的分压系数
*********************************************************************/
int my_battery_read_mv(int32_t *mv);

/*********************************************************************
**函数名称:  my_battery_pm_register
**入口参数:  无
**出口参数:  无
**函数功能:  将 Battery 模块注册到统一 PM 框架
**返 回 值:  0 表示成功，负值表示失败
*********************************************************************/
int my_battery_pm_register(void);

/*********************************************************************
**函数名称:  get_show_percent
**入口参数:  无
**出口参数:  电池电量百分比
**函数功能:  获取当前电池电量百分比
*********************************************************************/
int8_t get_show_percent(void);

/*********************************************************************
**函数名称:  get_charge_state_level
**入口参数:  无
**出口参数:  充电状态引脚电平
**函数功能:  获取当前充电状态引脚电平
*********************************************************************/
int get_charge_state_level(void);

/*********************************************************************
**函数名称:  open_led_timer
**入口参数:  timer_ms: 定时器周期时间，单位毫秒
**出口参数:  无
**函数功能:  打开LED控制开关，用于显示指示灯状态
*********************************************************************/
void open_led_timer(uint32_t timer_ms);

/*********************************************************************
**函数名称:  my_led_ctrl_mode
**入口参数:  无
**出口参数:  无
**函数功能:  控制LED模式
*********************************************************************/
void my_led_ctrl_mode(void);

/*********************************************************************
**函数名称:  led_enable
**入口参数:  on: true=使能，false=禁用
**出口参数:  无
**函数功能:  使能LED
*********************************************************************/
void led_enable(bool on);

/*********************************************************************
**函数名称:  led_set_mode
**入口参数:  mode: LED模式
** on: 是否开启
**出口参数:  无
**函数功能:  设置LED模式
*********************************************************************/
void led_set_mode(led_mode_t mode, bool on);

/*********************************************************************
**函数名称:  led_get_enable
**入口参数:  无
**出口参数:  LED使能标志
**函数功能:  获取LED使能标志
*********************************************************************/
bool led_get_enable(void);

#endif
```

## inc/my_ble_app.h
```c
/********************************************************************
**版权所有         深圳市几米物联有限公司
**文件名称:        my_ble_app.h
**文件描述:        设备蓝牙交互模块实现头文件
**当前版本:        V1.0
**作    者:        周森达 (zhousenda@jimiiot.com)
**完成日期:        2026-03-05
*********************************************************************
** 功能描述:        1. 提供交互协议相关宏定义
**                 2. 为外部提供数据接收和解析相关接口
** 协议文档:        Jimi Iot 蓝牙通信协议V3.1.6_2026-3-5
** OTA 效率优化:    为提升 OTA 传输效率，采用双 PDU 模式，MTU 扩大至 498 字节
**                 （默认 MTU 247 仅支持单 PDU，498 支持双 PDU，理论吞吐提升约 2 倍）
** 配置位置:        prj.conf 中 CONFIG_BT_L2CAP_TX_MTU=498 和 CONFIG_BT_BUF_ACL_RX_SIZE=502
*********************************************************************/
#ifndef _MY_BLE_APP_H_
#define _MY_BLE_APP_H_

// 交互协议相关宏定义
#define BLE_DATA_FRAME_LEN_MAX                  16

#define BLE_DATA_PACKET_HEAD                    0X4254          //数据包头
#define BLE_DATA_TYPE_PKEY                      0x1101          //公钥数据
#define BLE_DATA_TYPE_CID                       0x2202          //串号数据
#define BLE_DATA_TYPE_MTU_LEN                   0x2203          //MTU交换数据
#define BLE_DATA_TYPE_HID_VALID                 0x2303          //HID有效期
#define BLE_DATA_TYPE_ALARM                     0x3303          //防盗器指令数据
#define BLE_DATA_TYPE_QUERY                     0x3304          //查询仪表数据及应答
#define BLE_DATA_TYPE_REPORT                    0x3305          //仪表数据上行汇报及应答
#define BLE_DATA_TYPE_CMD                       0x5505          //其它指令数据
#define BLE_DATA_TYPE_FILE_TRANS                0x4605          //DFU文件指令,参考Jimi Iot 蓝牙通信协议V3.1.6_2026-3-5 6.4 OTA文件传输
#define BLE_DATA_TYPE_QEURY_VER                 0x5601          //app下行查询版本号
#define BLE_DATA_TYPE_RSP_VER1                  0x5602          //设备类型
#define BLE_DATA_TYPE_RSP_VER2                  0x5603          //设备版本号

#define BLE_DATA_TYPE_SET_ADV                   0x5606          //设置广播名称
#define BLE_DATA_TYPE_SET_IMEI                  0x5707          //设置IMEI号
#define BLE_DATA_TYPE_AT_CMD                    0x5808          //用户指令

/* 单模块回复传输（0xFF 0x01 / 0xFF 0x02）
 * 用于大数据量返回
 * 1. 可单包发送时走 FF01：payload 格式为 len(Varint, 0-512) + Module id(Varint,固定0x08) + Module len(Varint) + data
 *    APP 回复解密后 payload 固定为 0x00
 * 2. 需分包发送时走 FF02：payload 格式为 Len(Varint, 0-512) + Seq(1B) + [首包附带 Module id + Module len] + data
 *    APP 回复格式为 52 54 FF 02，解密后 payload 为 len(Varint) + 包序号
 */
#define BLE_DATA_TYPE_PACKET_SINGLE             0xFF01          //单包传输数据类型
#define BLE_DATA_TYPE_PACKET_MULTIPLE           0xFF02          //分包传输数据类型

#define BLE_PACKET_TRANS_MODULE_ID              0x08            //模块ID(RSP_ASCII)
#define BLE_PACKET_TRANS_SEQ_LAST               0xFF            //最后一包序号标记

/* 日志指令透传数据（LOG_DATA）
 * 指令格式：
 * +--------+--------+--------+--------+
 * |  字节  |   0~1  |   2~3  |  4~N   |
 * +--------+--------+--------+--------+
 * |  字段  |  head  |  cmd   |  data  |
 * +--------+--------+--------+--------+
 * |  值    | 0x4254 | 0x5901 |  日志  |
 * +--------+--------+--------+--------+
 * 说明：
 *   - head (2B): 帧头 0x4254 ("BT")
 *   - cmd  (2B): 指令类型 0x5901 (LOG_DATA)
 *   - data (NB): 透传日志内容，明文传输，无需16字节对齐，测试发现小于16字节的需要填充0，补足16字节
 *   - 长度计算: MTU - BLE_LOG_MTU_OVERHEAD
 *   - MTU开销: ATT头(3B) + head(2B) + cmd(2B) = 7B
 */
#define BLE_DATA_TYPE_BT_LOG                    0x5901          //日志指令透传数据（LOG_DATA）
/* 日志数据MTU开销：ATT头(3B) + head(2B) + cmd(2B) */
#define BLE_LOG_MTU_OVERHEAD                    7

/* 蓝牙日志单包最大内容长度
 * 原因：测试发现超过240字节会导致蓝牙自动断开
 * 注意：此限制与MTU无关，是协议栈稳定性要求
 */
#define BLE_LOG_MAX_CHUNK_SIZE                  240

#define BLE_DFU_HEAD1                           0x78            // DFU包头1
#define BLE_DFU_HEAD2                           0x79            // DFU包头2

#define BLE_COMU_DEV_CODE                       0xB3            // 设备码
#define BLE_COMU_APP_CODE                       0xC2            // 应用码
#define BLE_COMU_CMD_START                      0x89            // 命令码
#define BLE_COMU_ALARM_START                    0x78            // 告警码

#define BLE_PKEY_RX_CMD                         0x8900C200      // 公钥接收命令
#define BLE_PKEY_RSP_DATA1                      0x00            // 公钥接收响应数据1
#define BLE_PKEY_RSP_DATA3                      0x00

/* APP下行控制指令    */
#define BLE_APP_CMD_APP_LINK                    0x00
#define BLE_APP_CMD_PAIR_ALLOW                  0x02
#define BLE_APP_CMD_PAIR_ALIOS                  0x03            // IOS PAIR ALLOW
#define BLE_APP_CMD_HID_READ                    0x05
#define BLE_APP_CMD_HID_ONOFF                   0x06
#define BLE_APP_CMD_HID_GEAR                    0x08
#define BLE_APP_CMD_QUERY_SENSOR                0x09
#define BLE_APP_CMD_SETUP_SENSOR                0x0a
#define BLE_APP_CMD_QUERY_BUZZER                0x0b
#define BLE_APP_CMD_SETUP_BUZZER                0x0c
#define BLE_APP_CMD_QUERY_CTRLPWR               0x0d
#define BLE_APP_CMD_SETUP_CTRLPWR               0x0e
#define BLE_APP_CMD_QUERY_ALL                   0x0f
#define BLE_APP_CMD_FIND_CAR                    0x10
#define BLE_APP_CMD_USER_MODE                   0x12
#define BLE_APP_CMD_PAIR_MODE                   0x15
#define BLE_APP_CMD_PAIR_CODE                   0x16

/* 设备上行应答APP控制指令       */
#define BLE_RSP_CMD_APP_LINK                    0x00
#define BLE_RSP_CMD_CID                         0x01
#define BLE_RSP_CMD_PAIR_ALLOW                  0x03
#define BLE_RSP_CMD_PAIR_RESULT                 0x04
#define BLE_RSP_CMD_HID_ONOFF                   0x06
#define BLE_RSP_CMD_HID_GEAR                    0x08
#define BLE_RSP_CMD_SENSOR_PARAM                0x09
#define BLE_RSP_CMD_SENSOR_SETUP                0x0a
#define BLE_RSP_CMD_BUZZER_PARAM                0x0b
#define BLE_RSP_CMD_BUZZER_SETUP                0x0c
#define BLE_RSP_CMD_CTRLPWR_PARAM               0x0d
#define BLE_RSP_CMD_CTRLPWR_SETUP               0x0e
#define BLE_RSP_CMD_QUERY_ALL                   0x0f
#define BLE_RSP_CMD_FIND_CAR                    0x10
#define BLE_RSP_CMD_USER_MODE                   0x12
#define BLE_RSP_CMD_PAIR_MODE                   0x15
#define BLE_RSP_CMD_PAIR_CODE                   0x16

#define BLE_RSP_PARAM_SUCCESS                   0x00
#define BLE_RSP_PARAM_FAIL                      0x01

extern uint16_t g_ble_server_mtu;

#define BLE_SERVER_MAX_MTU CONFIG_BT_L2CAP_TX_MTU // MTU最大长度，系统用掉了3个字节,可用数据最大244字节
#define BLE_SERVER_MIN_MTU 23                     // MTU默认最小长度

#define BLE_SERVER_MAX_DATA_LEN    (g_ble_server_mtu - 3)
#define BLE_SVC_RX_MAX_LEN         (BLE_SERVER_MAX_MTU - 3)
#define BLE_SVC_TX_MAX_LEN         (BLE_SERVER_MAX_MTU - 3)

#define BLE_RESP_LENGTH_MAX         BLE_SVC_RX_MAX_LEN

#define BLE_FRAME_HEAD_LEN          2               // 蓝牙数据帧头长度2字节
#define BLE_CMD_HEAD_LEN            2               // 蓝牙命令头长度2字节
#define BLE_CMD_DATA_LEN_UNIT       16              // 蓝牙命令内容长度基数16字节，因为要加密，必须是16字节的倍数
#define BLE_GATT_FRAME_LEN_MIN      (BLE_FRAME_HEAD_LEN + BLE_CMD_HEAD_LEN + BLE_CMD_DATA_LEN_UNIT)

#define BLE_MTU_DATA_LEN            (512 + 16)  /* MTU 498 支持，最大解密后约 512 字节，对齐 16 字节 */

/*********************************************************************
**函数名称:  BLE_DataInputBuffer
**入口参数:  data        --  蓝牙接收的原始数据指针
**           len         --  蓝牙接收的原始数据长度
**出口参数:  无
**函数功能:  验证数据长度合法性后缓存数据，发送消息给蓝牙线程处理
**返 回 值:  无
*********************************************************************/
void BLE_DataInputBuffer(const uint8_t *data, uint16_t len);
/*********************************************************************
**函数名称:  ble_rx_proc_handle
**入口参数:  无
**出口参数:  无
**函数功能:  蓝牙接收消息处理函数，验证包头后分发处理数据包
**返 回 值:  无
*********************************************************************/
void ble_rx_proc_handle(void);

/*********************************************************************
**函数名称:  my_ble_dfu_send_response
**入口参数:  cmd   ---   命令码
**           data  ---   响应数据
**           len   ---   数据长度
**出口参数:  无
**函数功能:  发送 DFU 响应数据
**返 回 值:  无
*********************************************************************/
void my_ble_dfu_send_response(uint8_t cmd, uint8_t *data, uint16_t len);

/*********************************************************************
**函数名称:  ble_log_send
**入口参数:  data     ---        日志数据指针
**           len      ---        日志数据长度
**出口参数:  无
**函数功能:  发送蓝牙日志到APP，通过指令通道（0x5901）明文传输
**返 回 值:  无
*********************************************************************/
void ble_log_send(uint8_t *data, uint8_t len);

/*********************************************************************
**函数名称:  ble_log_init
**入口参数:  无
**出口参数:  无
**函数功能:  初始化蓝牙日志模块，包括互斥锁初始化
**返 回 值:  0 表示成功
*********************************************************************/
int ble_log_init(void);

/*********************************************************************
**函数名称:  ble_log_disconnect_cleanup
**入口参数:  无
**出口参数:  无
**函数功能:  蓝牙断开时设置断开标志，通知 ble_log_send 清理资源
**返 回 值:  无
*********************************************************************/
void ble_log_disconnect_cleanup(void);

/*********************************************************************
**函数名称:  ble_log_connect_init
**入口参数:  无
**出口参数:  无
**函数功能:  蓝牙连接建立时清除断开标志，允许日志发送
**返 回 值:  无
*********************************************************************/
void ble_log_connect_init(void);
/********************************************************************
**函数名称:  ble_comu_at_cmd_handle
**入口参数:  data          ---        AT命令数据输入指针
**         :  len           ---        数据长度
**出口参数:  无
**函数功能:  处理BLE接收的AT命令
**返回值:    无
**注意事项:  根据AT命令处理结果决定是否发送响应数据
*********************************************************************/
void ble_comu_at_cmd_handle(const uint8_t *data, uint16_t len);

/********************************************************************
**函数名称:  ble_packet_trans_send
**入口参数:  data          ---        待发送的实际数据指针
**         :  len           ---        待发送的实际数据长度
**出口参数:  无
**函数功能:  使用分包传输机制（0xFF 0x02）发送大数据到APP
**返回值:    无
**注意事项:  1.数据会被自动分包，每包等待APP确认后再发下一包
**           2.分包大小根据MTU自动计算
**           3.数据内容会被扩展到16字节倍数后加密发送
**           4.最后一包实际数据使用0xFF作为序号
*********************************************************************/
void ble_packet_trans_send(uint8_t *data, uint16_t len);

/*********************************************************************
**函数名称:  ble_packet_trans_init
**入口参数:  无
**出口参数:  无
**函数功能:  初始化BLE单包/分包回复超时与重发模块
**返 回 值:  无
*********************************************************************/
void ble_packet_trans_init(void);

/*********************************************************************
**函数名称:  ble_packet_trans_timeout_handler
**入口参数:  无
**出口参数:  无
**函数功能:  BLE 分包传输应答超时处理，在 BLE 线程上下文执行
**返 回 值:  无
*********************************************************************/
void ble_packet_trans_timeout_handler(void);

/*********************************************************************
**函数名称:  ble_packet_trans_disconnect_cleanup
**入口参数:  无
**出口参数:  无
**函数功能:  蓝牙断开时清理BLE单包/分包回复状态
**返 回 值:  无
*********************************************************************/
void ble_packet_trans_disconnect_cleanup(void);

/********************************************************************
**函数名称:  ble_comu_response_or_expansion_cmd
**入口参数:  type          ---        命令类型
**         :  str_data      ---        输入数据指针
**         :  len           ---        数据长度
**出口参数:  无
**函数功能:  发送BLE通信响应或扩展命令数据
**返回值:    无
**注意事项:  数据长度会被扩展到16字节的倍数进行发送
*********************************************************************/
void ble_comu_response_or_expansion_cmd(uint16_t type, uint8_t *str_data, uint8_t len);
#endif
```

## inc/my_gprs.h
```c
/********************************************************************
**版权所有         深圳市几米物联有限公司
**文件名称:        my_gprs.h
**文件描述:        GPRS头文件
**当前版本:        V1.0
**作    者:        Felix Tang (tangchaofa@jimiiot.com)
**完成日期:        2026.08.05
*********************************************************************/
#ifndef _MY_GPRS_H_
#define _MY_GPRS_H_

#define MAX_DOMAIN_LEN       64 // 域名最大长度

typedef struct
{
    char addrStr[MAX_DOMAIN_LEN];
    uint16_t port;
    uint8_t isIpAddr;
} MY_SOCADDR_STRUCT;

int my_gprs_init(k_tid_t *tid);

void my_tcp_data_handler(uint8_t *data, uint16_t len);

#endif
```
